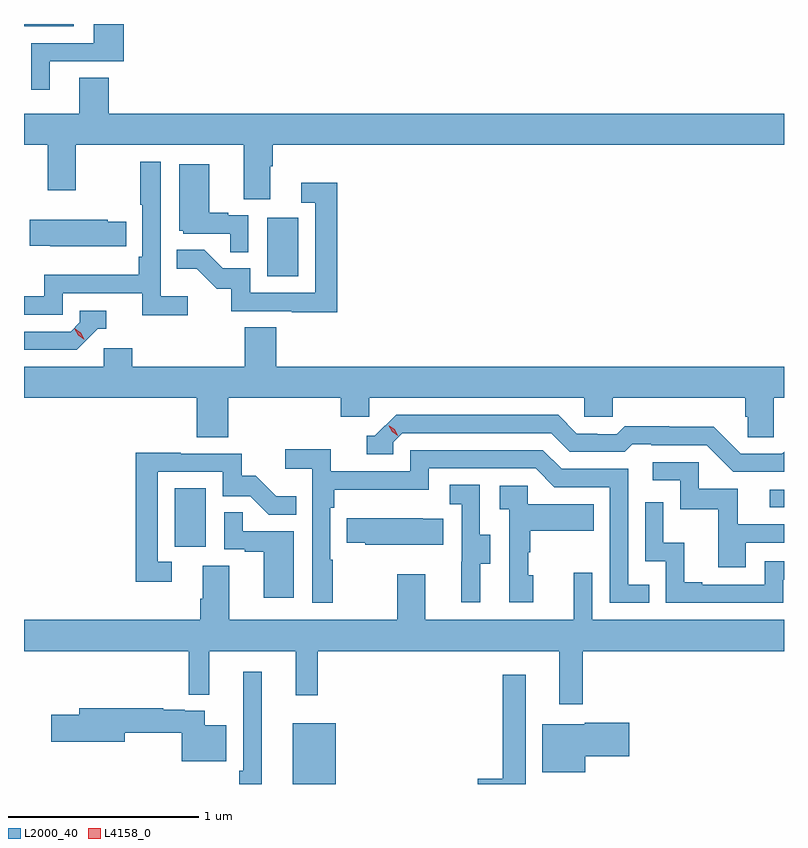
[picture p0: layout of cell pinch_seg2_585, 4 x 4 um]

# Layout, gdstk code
import gdstk
lib = gdstk.Library(unit=1e-6, precision=1e-09)
def R(c, l, rs):  # rectangles x0, y0, x1, y1
    for r in rs: c.add(gdstk.rectangle(r[:2], r[2:], *l))
def P(c, l, *ps):  # polygons
    for p in ps: c.add(gdstk.Polygon(p, *l))
L2000_40 = (2000, 40)
L4158_0 = (4158, 0)

pinch_seg2_585 = lib.new_cell('pinch_seg2_585')
R(pinch_seg2_585, L2000_40, [(1058.603,618.964,1058.83,619.285), (1057.982,620.214,1058.146,620.521), (1061.115,620.421,1061.189,620.514), (1058.468,621.636,1058.632,621.943), (1057.189,622.953,1057.45,622.964)])
P(pinch_seg2_585, L2000_40, [(1057.324,622.767),(1057.715,622.767),(1057.715,622.964),(1057.556,622.964),(1057.556,622.863),(1057.226,622.863),(1057.226,622.617),(1057.324,622.617)],
  [(1058.485,622.216),(1058.498,622.216),(1058.498,622.328),(1061.189,622.328),(1061.189,622.492),(1057.634,622.492),(1057.634,622.682),(1057.481,622.682),(1057.481,622.492),(1057.189,622.492),(1057.189,622.328),(1057.313,622.328),(1057.313,622.089),(1057.461,622.089),(1057.461,622.328),(1058.345,622.328),(1058.345,622.042),(1058.485,622.042)],
  [(1058.05,621.532),(1057.908,621.532),(1057.908,622.24),(1057.8,622.24),(1057.8,622.012),(1057.812,622.012),(1057.812,621.739),(1057.792,621.739),(1057.792,621.643),(1057.296,621.643),(1057.296,621.531),(1057.189,621.531),(1057.189,621.435),(1057.392,621.435),(1057.392,621.546),(1057.811,621.546),(1057.811,621.43),(1058.05,621.43)],
  [(1058.37,621.957),(1058.264,621.957),(1058.264,621.97),(1058.164,621.97),(1058.164,622.225),(1058.006,622.225),(1058.006,621.876),(1058.028,621.876),(1058.028,621.861),(1058.275,621.861),(1058.275,621.763),(1058.37,621.763)],
  [(1058.837,622.129),(1058.649,622.129),(1058.649,622.023),(1058.721,622.023),(1058.721,621.549),(1058.379,621.549),(1058.379,621.678),(1058.235,621.678),(1058.137,621.776),(1057.993,621.776),(1057.993,621.677),(1058.097,621.677),(1058.204,621.57),(1058.281,621.57),(1058.281,621.453),(1058.599,621.453),(1058.599,621.448),(1058.837,621.448)],
  [(1057.727,621.924),(1057.629,621.924),(1057.629,621.934),(1057.219,621.934),(1057.219,621.797),(1057.327,621.797),(1057.327,621.794),(1057.727,621.794)],
  [(1057.578,621.36),(1057.621,621.36),(1057.621,621.456),(1057.482,621.456),(1057.482,621.393),(1057.434,621.345),(1057.189,621.345),(1057.189,621.249),(1057.467,621.249)],
  [(1057.76,621.258),(1057.608,621.258),(1057.608,621.16),(1057.189,621.16),(1057.189,620.996),(1058.099,620.996),(1058.099,620.788),(1058.264,620.788),(1058.264,620.996),(1058.855,620.996),(1058.855,620.898),(1059.006,620.898),(1059.006,620.996),(1060.137,620.996),(1060.137,620.898),(1060.287,620.898),(1060.287,620.996),(1060.985,620.996),(1060.985,620.898),(1060.999,620.898),(1060.999,620.788),(1061.136,620.788),(1061.136,620.996),(1061.189,620.996),(1061.189,621.16),(1058.516,621.16),(1058.516,621.368),(1058.351,621.368),(1058.351,621.16),(1057.76,621.16)],
  [(1061.189,620.714),(1061.178,620.703),(1060.962,620.703),(1060.82,620.845),(1060.584,620.845),(1060.584,620.848),(1060.351,620.848),(1060.309,620.805),(1060.206,620.805),(1060.206,620.808),(1060.099,620.808),(1060,620.907),(1059.147,620.907),(1059.036,620.796),(1058.993,620.796),(1058.993,620.7),(1059.132,620.7),(1059.132,620.763),(1059.18,620.811),(1059.963,620.811),(1060.062,620.712),(1060.351,620.712),(1060.39,620.751),(1060.489,620.751),(1060.489,620.748),(1060.782,620.748),(1060.923,620.607),(1061.189,620.607)],
  [(1058.815,620.144),(1058.802,620.144),(1058.802,620.417),(1058.822,620.417),(1058.822,620.513),(1059.318,620.513),(1059.318,620.625),(1059.882,620.625),(1059.981,620.526),(1060.272,620.526),(1060.272,619.917),(1060.481,619.917),(1060.481,620.013),(1060.368,620.013),(1060.368,620.622),(1060.018,620.622),(1059.919,620.721),(1059.222,620.721),(1059.222,620.61),(1058.804,620.61),(1058.804,620.726),(1058.565,620.726),(1058.565,620.624),(1058.706,620.624),(1058.706,619.917),(1058.815,619.917)],
  [(1057.966,620.133),(1057.893,620.133),(1057.893,620.607),(1058.235,620.607),(1058.235,620.478),(1058.379,620.478),(1058.477,620.38),(1058.621,620.38),(1058.621,620.479),(1058.517,620.479),(1058.41,620.586),(1058.334,620.586),(1058.334,620.703),(1058.015,620.703),(1058.015,620.708),(1057.777,620.708),(1057.777,620.028),(1057.966,620.028)],
  [(1060.987,620.235),(1061.189,620.235),(1061.189,620.331),(1060.945,620.331),(1060.945,620.517),(1060.74,620.517),(1060.74,620.658),(1060.497,620.658),(1060.497,620.562),(1060.644,620.562),(1060.644,620.409),(1060.843,620.409),(1060.843,620.106),(1060.987,620.106)],
  [(1059.589,620.122),(1059.643,620.122),(1059.643,620.277),(1059.588,620.277),(1059.588,620.54),(1059.429,620.54),(1059.429,620.437),(1059.492,620.437),(1059.492,620.133),(1059.491,620.133),(1059.491,619.92),(1059.589,619.92)],
  [(1059.868,620.064),(1059.843,620.064),(1059.843,620.183),(1059.853,620.183),(1059.853,620.297),(1060.187,620.297),(1060.187,620.437),(1059.84,620.437),(1059.84,620.535),(1059.693,620.535),(1059.693,620.411),(1059.744,620.411),(1059.744,619.92),(1059.868,619.92)],
  [(1061.184,620.04),(1061.189,620.04),(1061.189,620.136),(1061.088,620.136),(1061.088,620.013),(1060.759,620.013),(1060.759,620.026),(1060.664,620.026),(1060.664,620.234),(1060.554,620.234),(1060.554,620.446),(1060.458,620.446),(1060.458,620.136),(1060.566,620.136),(1060.566,619.917),(1061.184,619.917)],
  [(1058.608,620.295),(1058.339,620.295),(1058.339,620.393),(1058.244,620.393),(1058.244,620.199),(1058.351,620.199),(1058.351,620.187),(1058.45,620.187),(1058.45,619.944),(1058.608,619.944)],
  [(1059.395,620.359),(1059.287,620.359),(1059.287,620.362),(1058.887,620.362),(1058.887,620.233),(1058.985,620.233),(1058.985,620.222),(1059.395,620.222)],
  [(1060.129,619.664),(1061.189,619.664),(1061.189,619.828),(1060.179,619.828),(1060.179,620.077),(1060.082,620.077),(1060.082,619.828),(1059.301,619.828),(1059.301,620.068),(1059.154,620.068),(1059.154,619.828),(1058.269,619.828),(1058.269,620.114),(1058.129,620.114),(1058.129,619.94),(1058.117,619.94),(1058.117,619.828),(1057.189,619.828),(1057.189,619.664),(1058.056,619.664),(1058.056,619.435),(1058.165,619.435),(1058.165,619.664),(1058.618,619.664),(1058.618,619.431),(1058.735,619.431),(1058.735,619.664),(1060.007,619.664),(1060.007,619.383),(1060.129,619.383)],
  [(1058.44,619.555),(1058.343,619.555),(1058.343,619.033),(1058.323,619.033),(1058.323,618.964),(1058.44,618.964)],
  [(1059.829,619.54),(1059.708,619.54),(1059.708,618.991),(1059.578,618.991),(1059.578,618.964),(1059.829,618.964)],
  [(1058.254,619.273),(1058.14,619.273),(1058.14,619.35),(1058.036,619.35),(1058.036,619.356),(1057.922,619.356),(1057.922,619.363),(1057.481,619.363),(1057.481,619.329),(1057.332,619.329),(1057.332,619.187),(1057.72,619.187),(1057.72,619.234),(1058.018,619.234),(1058.018,619.085),(1058.254,619.085)],
  [(1060.144,619.109),(1060.375,619.109),(1060.375,619.287),(1060.14,619.287),(1060.14,619.279),(1059.917,619.279),(1059.917,619.025),(1060.144,619.025)])
P(pinch_seg2_585, L4158_0, [(1057.504,621.306),(1057.474,621.326),(1057.457,621.358),(1057.457,621.359),(1057.458,621.359),(1057.488,621.339),(1057.505,621.306),(1057.505,621.306)],
  [(1059.156,620.797),(1059.126,620.817),(1059.11,620.85),(1059.11,620.85),(1059.111,620.85),(1059.141,620.83),(1059.156,620.797),(1059.156,620.797)])

lib.write_gds('pinch_seg2_585.gds')
